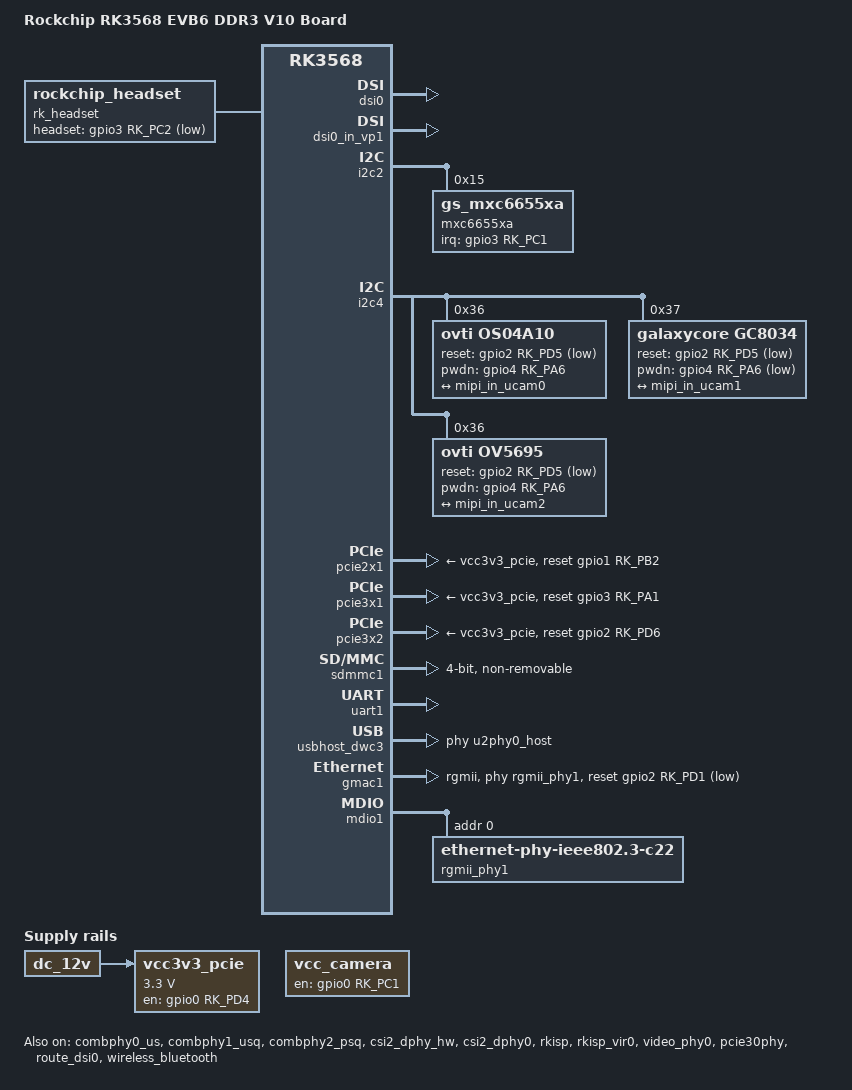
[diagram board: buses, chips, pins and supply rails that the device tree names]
// SPDX-License-Identifier: (GPL-2.0+ OR MIT)
/*
 * Copyright (c) 2020 Rockchip Electronics Co., Ltd.
 *
 */

/dts-v1/;

#include "rk3568.dtsi"
#include "rk3568-evb.dtsi"

/ {
	model = "Rockchip RK3568 EVB6 DDR3 V10 Board";
	compatible = "rockchip,rk3568-evb6-ddr3-v10", "rockchip,rk3568";

	rk_headset: rk-headset {
		compatible = "rockchip_headset";
		headset_gpio = <&gpio3 RK_PC2 GPIO_ACTIVE_LOW>;
		pinctrl-names = "default";
		pinctrl-0 = <&hp_det>;
	};

	vcc3v3_pcie: gpio-regulator {
		compatible = "regulator-fixed";
		regulator-name = "vcc3v3_pcie";
		regulator-min-microvolt = <3300000>;
		regulator-max-microvolt = <3300000>;
		enable-active-high;
		gpio = <&gpio0 RK_PD4 GPIO_ACTIVE_HIGH>;
		startup-delay-us = <5000>;
		vin-supply = <&dc_12v>;
	};

	vcc_camera: vcc-camera-regulator {
		compatible = "regulator-fixed";
		gpio = <&gpio0 RK_PC1 GPIO_ACTIVE_HIGH>;
		pinctrl-names = "default";
		pinctrl-0 = <&camera_pwr>;
		regulator-name = "vcc_camera";
		enable-active-high;
		regulator-always-on;
		regulator-boot-on;
	};
};

&combphy0_us {
	status = "okay";
};

&combphy1_usq {
	rockchip,dis-u3otg1-port;
	status = "okay";
};

&combphy2_psq {
	status = "okay";
};

/*
 * video_phy0 needs to be enabled
 * when dsi0 is enabled
 */
&dsi0 {
	status = "okay";
};

&dsi0_in_vp0 {
	status = "disabled";
};

&dsi0_in_vp1 {
	status = "okay";
};

&dsi0_panel {
	power-supply = <&vcc3v3_lcd0_n>;
};

/*
 * video_phy1 needs to be enabled
 * when dsi1 is enabled
 */
&dsi1 {
	status = "disabled";
};

&dsi1_in_vp0 {
	status = "disabled";
};

&dsi1_in_vp1 {
	status = "disabled";
};

&dsi1_panel {
	power-supply = <&vcc3v3_lcd1_n>;
};

/*
 * power-supply should switche to vcc3v3_lcd1_n
 * when mipi panel is connected to dsi1.
 */
&gt1x {
	power-supply = <&vcc3v3_lcd0_n>;
};

&i2c2 {
	status = "okay";
	pinctrl-names = "default";
	pinctrl-0 = <&i2c2m1_xfer>;

	mxc6655xa: mxc6655xa@15 {
		status = "okay";
		compatible = "gs_mxc6655xa";
		pinctrl-names = "default";
		pinctrl-0 = <&mxc6655xa_irq_gpio>;
		reg = <0x15>;
		irq-gpio = <&gpio3 RK_PC1 IRQ_TYPE_LEVEL_LOW>;
		irq_enable = <0>;
		poll_delay_ms = <30>;
		type = <SENSOR_TYPE_ACCEL>;
		power-off-in-suspend = <1>;
		layout = <4>;
	};
};

&i2c4 {
	status = "okay";
	os04a10: os04a10@36 {
		compatible = "ovti,os04a10";
		reg = <0x36>;
		clocks = <&cru CLK_CAM0_OUT>;
		clock-names = "xvclk";
		power-domains = <&power RK3568_PD_VI>;
		pinctrl-names = "default";
		pinctrl-0 = <&cam_clkout0>;
		reset-gpios = <&gpio2 RK_PD5 GPIO_ACTIVE_LOW>;
		pwdn-gpios = <&gpio4 RK_PA6 GPIO_ACTIVE_HIGH>;
		/* power-gpios = <&gpio0 RK_PC1 GPIO_ACTIVE_HIGH>; */
		rockchip,camera-module-index = <0>;
		rockchip,camera-module-facing = "back";
		rockchip,camera-module-name = "CMK-OT1607-FV1";
		/* rockchip,camera-module-lens-name = "M12-4IR-4MP-F16"; */
		rockchip,camera-module-lens-name = "M12-40IRC-4MP-F16";
		port {
			ucam_out0: endpoint {
				remote-endpoint = <&mipi_in_ucam0>;
				data-lanes = <1 2 3 4>;
			};
		};
	};
	gc8034: gc8034@37 {
		compatible = "galaxycore,gc8034";
		reg = <0x37>;
		clocks = <&cru CLK_CAM0_OUT>;
		clock-names = "xvclk";
		power-domains = <&power RK3568_PD_VI>;
		pinctrl-names = "default";
		pinctrl-0 = <&cam_clkout0>;
		reset-gpios = <&gpio2 RK_PD5 GPIO_ACTIVE_LOW>;
		pwdn-gpios = <&gpio4 RK_PA6 GPIO_ACTIVE_LOW>;
		rockchip,grf = <&grf>;
		rockchip,camera-module-index = <0>;
		rockchip,camera-module-facing = "back";
		rockchip,camera-module-name = "RK-CMK-8M-2-v1";
		rockchip,camera-module-lens-name = "CK8401";
		port {
			gc8034_out: endpoint {
				remote-endpoint = <&mipi_in_ucam1>;
				data-lanes = <1 2 3 4>;
			};
		};
	};
	ov5695: ov5695@36 {
		status = "okay";
		compatible = "ovti,ov5695";
		reg = <0x36>;
		clocks = <&cru CLK_CAM0_OUT>;
		clock-names = "xvclk";
		power-domains = <&power RK3568_PD_VI>;
		pinctrl-names = "default";
		pinctrl-0 = <&cam_clkout0>;
		reset-gpios = <&gpio2 RK_PD5 GPIO_ACTIVE_LOW>;
		pwdn-gpios = <&gpio4 RK_PA6 GPIO_ACTIVE_HIGH>;
		rockchip,camera-module-index = <0>;
		rockchip,camera-module-facing = "back";
		rockchip,camera-module-name = "TongJu";
		rockchip,camera-module-lens-name = "CHT842-MD";
		port {
			ov5695_out: endpoint {
				remote-endpoint = <&mipi_in_ucam2>;
				data-lanes = <1 2>;
			};
		};
	};
};

&i2c5 {
	status = "disabled";

	/delete-node/ mxc6655xa@15;
};

&csi2_dphy_hw {
	status = "okay";
};

&csi2_dphy0 {
	status = "okay";

	ports {
		#address-cells = <1>;
		#size-cells = <0>;
		port@0 {
			reg = <0>;
			#address-cells = <1>;
			#size-cells = <0>;

			mipi_in_ucam0: endpoint@1 {
				reg = <1>;
				remote-endpoint = <&ucam_out0>;
				data-lanes = <1 2 3 4>;
			};
			mipi_in_ucam1: endpoint@2 {
				reg = <2>;
				remote-endpoint = <&gc8034_out>;
				data-lanes = <1 2 3 4>;
			};
			mipi_in_ucam2: endpoint@3 {
				reg = <3>;
				remote-endpoint = <&ov5695_out>;
				data-lanes = <1 2>;
			};
		};
		port@1 {
			reg = <1>;
			#address-cells = <1>;
			#size-cells = <0>;

			csidphy_out: endpoint@0 {
				reg = <0>;
				remote-endpoint = <&isp0_in>;
			};
		};
	};
};

&rkisp {
	status = "okay";
};

&rkisp_mmu {
	status = "okay";
};

&rkisp_vir0 {
	status = "okay";

	port {
		#address-cells = <1>;
		#size-cells = <0>;

		isp0_in: endpoint@0 {
			reg = <0>;
			remote-endpoint = <&csidphy_out>;
		};
	};
};

&video_phy0 {
	status = "okay";
};

&video_phy1 {
	status = "disabled";
};

&pcie30phy {
	status = "okay";
};

&pcie2x1 {
	reset-gpios = <&gpio1 RK_PB2 GPIO_ACTIVE_HIGH>;
	vpcie3v3-supply = <&vcc3v3_pcie>;
	status = "okay";
};

&pcie3x1 {
	rockchip,bifurcation;
	reset-gpios = <&gpio3 RK_PA1 GPIO_ACTIVE_HIGH>;
	vpcie3v3-supply = <&vcc3v3_pcie>;
	status = "okay";
};

&pcie3x2 {
	rockchip,bifurcation;
	reset-gpios = <&gpio2 RK_PD6 GPIO_ACTIVE_HIGH>;
	vpcie3v3-supply = <&vcc3v3_pcie>;
	status = "okay";
};

&pinctrl {
	cam {
		camera_pwr: camera-pwr {
			rockchip,pins =
				/* camera power en */
				<0 RK_PC1 RK_FUNC_GPIO &pcfg_pull_none>;
		};
	};

	headphone {
		hp_det: hp-det {
			rockchip,pins = <3 RK_PC2 RK_FUNC_GPIO &pcfg_pull_down>;
		};
	};

	sdio-pwrseq {
		wifi_enable_h: wifi-enable-h {
			rockchip,pins = <2 RK_PB1 RK_FUNC_GPIO &pcfg_pull_none>;
		};

		wifi_32k: wifi-32k {
			rockchip,pins = <2 RK_PC6 1 &pcfg_pull_none>;
		};
	};

	wireless-wlan {
		wifi_host_wake_irq: wifi-host-wake-irq {
			rockchip,pins = <2 RK_PB2 RK_FUNC_GPIO &pcfg_pull_down>;
		};
	};

	wireless-bluetooth {
		uart1_gpios: uart1-gpios {
			rockchip,pins = <2 RK_PB5 RK_FUNC_GPIO &pcfg_pull_none>;
		};
	};
};

&route_dsi0 {
	status = "okay";
	connect = <&vp1_out_dsi0>;
};

&sdmmc1 {
	max-frequency = <150000000>;
	no-sd;
	no-mmc;
	bus-width = <4>;
	disable-wp;
	cap-sd-highspeed;
	cap-sdio-irq;
	keep-power-in-suspend;
	mmc-pwrseq = <&sdio_pwrseq>;
	non-removable;
	pinctrl-names = "default";
	pinctrl-0 = <&sdmmc1_bus4 &sdmmc1_cmd &sdmmc1_clk>;
	sd-uhs-sdr104;
	status = "okay";
};

&sdmmc2 {
	status = "disabled";
};

&sdio_pwrseq {
	clocks = <&pmucru CLK_RTC_32K>;
	pinctrl-0 = <&wifi_enable_h &wifi_32k>;

	/*
	 * On the module itself this is one of these (depending
	 * on the actual card populated):
	 * - SDIO_RESET_L_WL_REG_ON
	 * - PDN (power down when low)
	 */
	reset-gpios = <&gpio2 RK_PB1 GPIO_ACTIVE_LOW>;
};

&spdif_8ch {
	status = "disabled";
};

&uart1 {
	status = "okay";
	pinctrl-names = "default";
	pinctrl-0 = <&uart1m0_xfer &uart1m0_ctsn>;
};

&usbhost_dwc3 {
	phys = <&u2phy0_host>;
	phy-names = "usb2-phy";
	maximum-speed = "high-speed";
	status = "okay";
};

&vcc3v3_lcd0_n {
	gpio = <&gpio0 RK_PC7 GPIO_ACTIVE_HIGH>;
	enable-active-high;
};

&vcc3v3_lcd1_n {
	gpio = <&gpio0 RK_PC5 GPIO_ACTIVE_HIGH>;
	enable-active-high;
};

&wireless_wlan {
	pinctrl-names = "default";
	pinctrl-0 = <&wifi_host_wake_irq>;
	WIFI,host_wake_irq = <&gpio2 RK_PB2 GPIO_ACTIVE_HIGH>;
	WIFI,poweren_gpio = <&gpio2 RK_PB1 GPIO_ACTIVE_HIGH>;
};

&wireless_bluetooth {
	compatible = "bluetooth-platdata";
	clocks = <&pmucru CLK_RTC_32K>;
	clock-names = "ext_clock";
	//wifi-bt-power-toggle;
	uart_rts_gpios = <&gpio2 RK_PB5 GPIO_ACTIVE_LOW>;
	pinctrl-names = "default", "rts_gpio";
	pinctrl-0 = <&uart1m0_rtsn>;
	pinctrl-1 = <&uart1_gpios>;
	BT,reset_gpio    = <&gpio2 RK_PB7 GPIO_ACTIVE_HIGH>;
	BT,wake_gpio     = <&gpio2 RK_PC1 GPIO_ACTIVE_HIGH>;
	BT,wake_host_irq = <&gpio2 RK_PC0 GPIO_ACTIVE_HIGH>;
	status = "okay";
};

&gmac1 {
	phy-mode = "rgmii";
	clock_in_out = "output";

	snps,reset-gpio = <&gpio2 RK_PD1 GPIO_ACTIVE_LOW>;
	snps,reset-active-low;
	/* Reset time is 20ms, 100ms for rtl8211f */
	snps,reset-delays-us = <0 20000 100000>;

	assigned-clocks = <&cru SCLK_GMAC1_RX_TX>, <&cru SCLK_GMAC1>;
	assigned-clock-parents = <&cru SCLK_GMAC1_RGMII_SPEED>, <&cru CLK_MAC1_2TOP>;
	assigned-clock-rates = <0>, <125000000>;

	pinctrl-names = "default";
	pinctrl-0 = <&gmac1m0_miim
		     &gmac1m0_tx_bus2_level3
		     &gmac1m0_rx_bus2
		     &gmac1m0_rgmii_clk_level2
		     &gmac1m0_rgmii_bus_level3>;

	tx_delay = <0x46>;
	rx_delay = <0x2f>;

	phy-handle = <&rgmii_phy1>;
	status = "okay";
};

&mdio1 {
	rgmii_phy1: phy@0 {
		compatible = "ethernet-phy-ieee802.3-c22";
		reg = <0x0>;
	};
};
